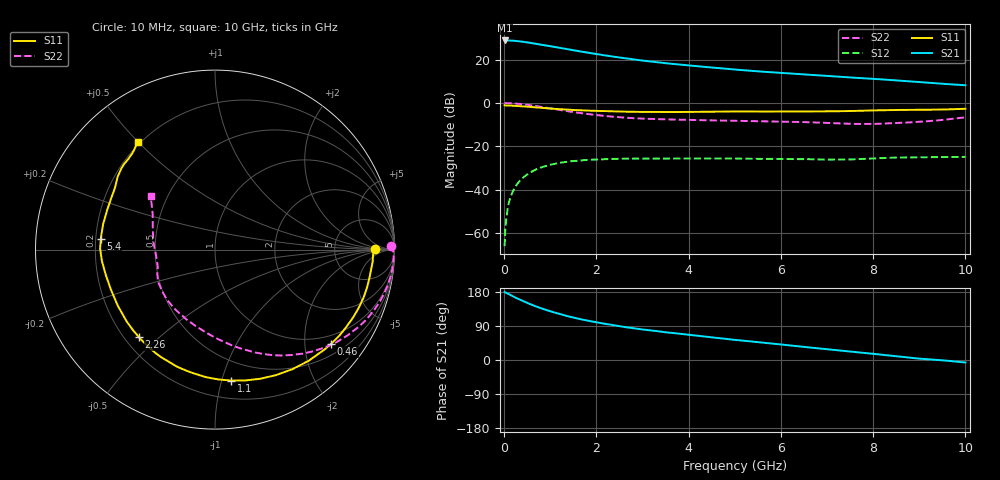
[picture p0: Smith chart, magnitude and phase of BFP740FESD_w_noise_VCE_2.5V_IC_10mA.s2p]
! Infineon Technologies  Discrete & RF Semiconductors
! BFP740FESD
! VCE =  2.5 V,  IC =  10 mA
! Common Emitter S-Parameters:  Jan 2016
# GHz  S  MA  R  50
!  f  S11  S21  S12  S22
! GHz  MAG  ANG  MAG  ANG  MAG  ANG  MAG  ANG
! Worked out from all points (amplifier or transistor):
!   233 points, 10 MHz to 10 GHz, reference 50 ohm
!   highest |S21| = 28.9 dB at 10 MHz (marker M1)
!   |S21| within 3 dB of that: start of sweep to 1.098 GHz
!   unconditionally stable (mu >= 1): 6.434 GHz to end of sweep
!   at 200 MHz: K = 0.04, MSG = 34.5 dB, |S12| = -40.3 dB
!   at 1.74 GHz: K = 0.30, MSG = 24.9 dB, |S12| = -26.3 dB
!   at 10 GHz: K = 1.32, MAG = 13.2 dB, |S12| = -24.8 dB
!   lowest NFmin = 0.61 dB at 450 MHz
!   S11 on the Smith chart (normalised r, x): 10 MHz: 17, +1; 460 MHz: 0.77, -2.62; 1.1 GHz: 0.34, -1.07; 2.26 GHz: 0.26, -0.43; 5.4 GHz: 0.22, +0.04; 10 GHz: 0.19, +0.50
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0.01  0.8901 0.2  27.81 179.5  0.0005 112.1  0.9806 1.3
0.065  0.879 -5.7  27.68 175.8  0.0031 87.0  0.9954 -3.7
0.1  0.8762 -8.9  27.75 174.0  0.0049 84.7  0.9947 -5.8
0.2  0.87 -17.6  27.43 167.6  0.0097 80.1  0.9823 -11.7
0.3  0.8573 -26.2  26.81 161.5  0.0143 75.5  0.9635 -17.3
0.46  0.8326 -39.1  25.49 152.7  0.021 68.4  0.9226 -25.8
0.6  0.8101 -49.9  24.22 145.5  0.0263 62.7  0.8804 -32.8
0.7  0.7932 -57.2  23.32 140.9  0.0297 58.9  0.8498 -37.5
0.9  0.7624 -70.7  21.44 132.4  0.0354 52.0  0.7867 -46.1
1.1  0.7351 -82.9  19.67 124.9  0.0399 46.0  0.7258 -54.0
1.4  0.7016 -99.0  17.25 114.8  0.0448 38.2  0.643 -64.9
1.68  0.6785 -111.3  15.34 107.0  0.0477 32.6  0.5821 -73.5
1.94  0.6627 -120.9  13.8 100.8  0.0497 28.3  0.5378 -80.6
2.26  0.6458 -131.1  12.25 93.9  0.0511 24.0  0.4955 -88.7
2.8  0.6279 -145.7  10.17 83.8  0.0523 18.4  0.4479 -101.0
3.4  0.6208 -157.4  8.532 74.8  0.0524 14.7  0.4238 -110.4
4.3  0.6286 -171.4  6.903 62.5  0.0527 11.2  0.4026 -121.6
5.1  0.6396 178.2  5.823 52.0  0.0523 8.9  0.389 -131.8
5.4  0.6387 174.7  5.494 48.3  0.0521 8.4  0.3839 -135.2
6.8  0.6421 156.4  4.363 30.9  0.0502 7.6  0.3546 -154.4
8.4  0.6903 139.1  3.398 11.1  0.0549 11.6  0.3426 174.8
10  0.7384 125.7  2.575 -6.6  0.0573 8.8  0.4689 140.0
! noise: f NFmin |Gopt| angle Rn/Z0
0.45  0.61  0.23  4  0.1
2.4  0.67  0.14  49  0.1
5.5  0.83  0.3  138  0.07
10  1.41  0.39  -135  0.13
